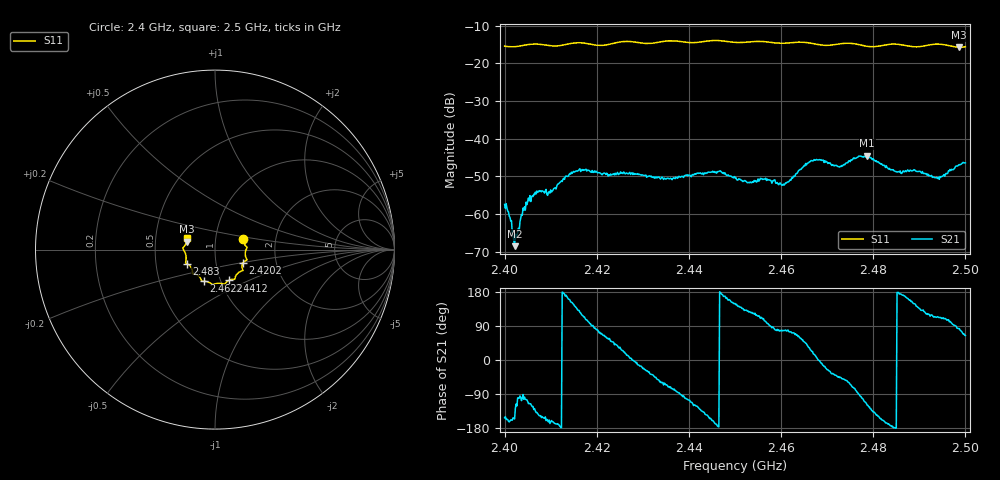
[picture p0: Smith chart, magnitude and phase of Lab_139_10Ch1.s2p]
# Hz S RI R 50
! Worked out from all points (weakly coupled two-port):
!   601 points, 2.4 GHz to 2.5 GHz, reference 50 ohm
!   highest |S21| = -44.54 dB at 2.4787 GHz (marker M1); lowest = -68.5 dB at 2.4022 GHz (marker M2)
!   lowest |S11| = -15.8 dB at 2.4987 GHz (marker M3), VSWR 1.39, Z = 36.3 + j3.29 ohm
!   |S11| at or under -10 dB: start of sweep to end of sweep
!   S12 and S22 are empty: the file has one direction only
!   S11 on the Smith chart (normalised r, x): 2.4 GHz: 1.36, +0.17; 2.4202 GHz: 1.35, -0.20; 2.4412 GHz: 1.09, -0.39; 2.4622 GHz: 0.83, -0.30; 2.483 GHz: 0.72, -0.12; 2.5 GHz: 0.73, +0.09
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2.4e9  0.1572 0.0603  -0.00119 -0.000618  0 0  0 0
2.401e9  0.1584 0.049  -0.000901 -0.000269  0 0  0 0
2.402167e9  0.1619 0.0354  -0.000342 -0.000156  0 0  0 0
2.404167e9  0.1719 0.0193  -0.000267 -0.00109  0 0  0 0
2.4055e9  0.1775 0.0143  -0.000755 -0.00159  0 0  0 0
2.409667e9  0.1714 -0.00489  -0.00185 -0.000737  0 0  0 0
2.416667e9  0.1771 -0.0587  -0.00193 0.00329  0 0  0 0
2.420167e9  0.1569 -0.0724  0.000628 0.00347  0 0  0 0
2.433333e9  0.1133 -0.1519  0.00191 -0.00244  0 0  0 0
2.441167e9  0.0758 -0.1717  -0.00161 -0.00297  0 0  0 0
2.446667e9  0.0492 -0.1933  -0.00373 7.27e-06  0 0  0 0
2.45e9  0.0268 -0.1873  -0.00259 0.00155  0 0  0 0
2.460333e9  -0.046 -0.1781  0.000493 0.00237  0 0  0 0
2.462167e9  -0.0626 -0.1767  0.00077 0.00272  0 0  0 0
2.466667e9  -0.0774 -0.1665  0.00472 0.00196  0 0  0 0
2.472833e9  -0.1193 -0.1363  0.00302 -0.00305  0 0  0 0
2.478667e9  -0.129 -0.107  -0.00288 -0.00519  0 0  0 0
2.483e9  -0.1583 -0.078  -0.00402 -0.000928  0 0  0 0
2.483333e9  -0.16 -0.0772  -0.00387 -0.000808  0 0  0 0
2.493833e9  -0.1793 0.00647  -0.00122 0.00282  0 0  0 0
2.498667e9  -0.157 0.0441  0.000564 0.0045  0 0  0 0
2.5e9  -0.1537 0.062  0.00207 0.0043  0 0  0 0
